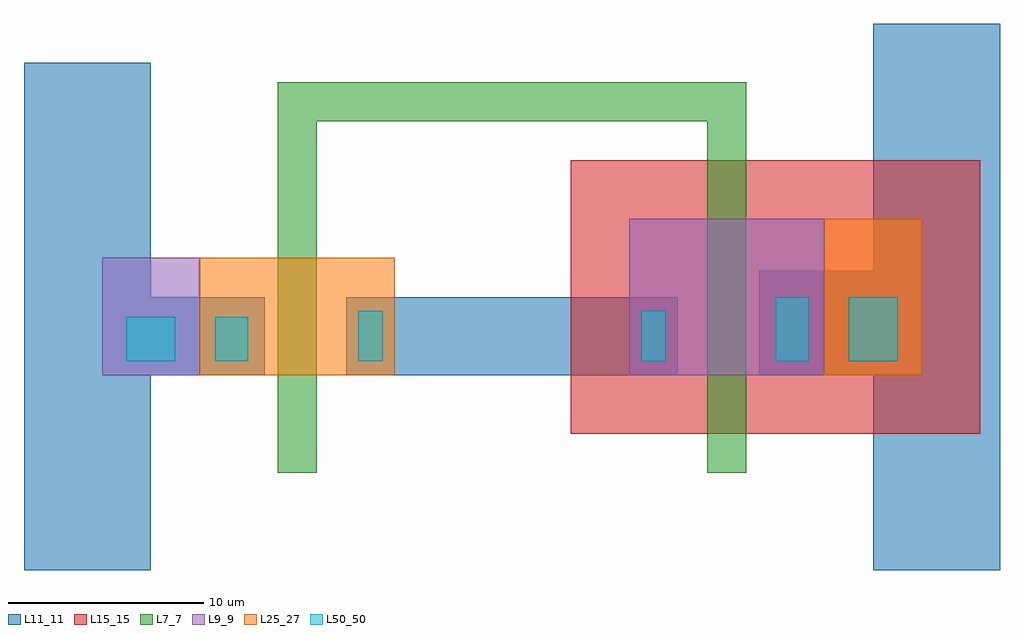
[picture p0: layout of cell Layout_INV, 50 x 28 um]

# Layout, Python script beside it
# -*- coding: utf-8 -*-
"""
Created on Thu Apr 29 16:20:48 2021

@author: muham
"""

def draw_inv(Wn, Wp, Lp, Ln, Wnd, Wpd):
    
    import gdspy
# The GDSII file is called a library, which contains multiple cells.
    lib = gdspy.GdsLibrary()

# Geometry must be placed in cells.
    cell = lib.new_cell("Layout_INV")
    
    #Geometry of N_well
    N_well = {"layer":15 , "datatype":15}
    p1 = gdspy.Rectangle((3, -9), (9+(1.5*Wpd),-3+Wp), **N_well)

################Geometry of diffusion p+################
    Diffusion_pplus = {"layer":9 , "datatype":9}
#Geometry of diffusion of pmos Tr
    p2 = gdspy.Rectangle((6, -6), (6+Wpd,-6+Wp), **Diffusion_pplus)
#################################
#Geometry of p+ diffusion for nmos Tr to contact p-substrate with GND (sustrate Tap) 
    p3 = gdspy.Rectangle((-6-(1.5*Wnd), -6+Wn), (-6-Wnd,-6), **Diffusion_pplus)
#######################################################################
################Geometry of diffusion n+################
    Diffusion_nplus = {"layer":25, "datatype":27}
#Geometry of diffusion of nmos Tr
    p4 = gdspy.Rectangle((-6, -6), (-6-Wnd,-6+Wn), **Diffusion_nplus)
#################################
#Geometry of n+ diffusion for pmos Tr to contact n-well with VDD   (N-well Tap)
    p5 = gdspy.Rectangle((6+Wpd, -6), (6+(1.5*Wpd),-6+Wp), **Diffusion_nplus) 
#####################################################################
#Geometry of Gate poly silicon
    Gate_poly={"layer":7 , "datatype":7}
    points_1 = [(6+(Wpd/2)+(Lp/2), -11), (6+(Wpd/2)+(Lp/2), Wp+1), (-6-(Wnd/2)-(Ln/2), Wp+1), (-6-(Wnd/2)-(Ln/2), -11), (-6-(Wnd/2)+(Ln/2), -11), (-6-(Wnd/2)+(Ln/2), Wp-1), (6+(Wpd/2)-(Lp/2), Wp-1), (6+(Wpd/2)-(Lp/2),-11)]
    p6 = gdspy.Polygon(points_1,**Gate_poly)
################Geometry of metal layers################
    Metal_layer= {"layer":  11, "datatype":11}
#Geometry of metal layer between drains of the Trs
    if Wp>=Wn:
        y=-6+(Wn*2/3)
        p7 = gdspy.Rectangle((6+(Wpd/4), -6), (-6-(Wnd/4),y), **Metal_layer)
    elif Wp<Wn:
        y= -6+(Wp*2/3)
        p7 = gdspy.Rectangle((6+(Wpd/4), -6), (-6-(Wnd/4),y), **Metal_layer)
########################################
#Geometry of VDD metal layer
    points_2 = [(6+(2*Wpd/3), -6), (6+(2*Wpd/3), -6+(Wp*2/3)), (6+1.25*Wpd, -6+(Wp*2/3)), (6+1.25*Wpd, 4+Wp), (10+1.5*Wpd, 4+Wp), (10+1.5*Wpd, -16), (6+1.25*Wpd, -16), (6+1.25*Wpd,-6)]
    p8 = gdspy.Polygon(points_2, **Metal_layer)
########################################
#Geometry of GND metal layer
    points_3 = [(-6-(2*Wnd/3), -6), (-6-(2*Wnd/3), -6+(Wn*2/3)), (-6-1.25*Wnd, -6+(Wn*2/3)), (-6-1.25*Wnd, 4+Wn), (-10-1.5*Wnd, 4+Wn), (-10-1.5*Wnd, -16), (-6-1.25*Wnd, -16), (-6-1.25*Wnd,-6)]
    p9 = gdspy.Polygon(points_3, **Metal_layer)
########################################
#Geometry of Contacts
    Contacts={"layer":50,"datatype":50}
 #Geometry of Vdd Contacts
    p10 = gdspy.Rectangle((6+Wpd*1.375, -5.3), (6+Wpd*1.125,-6+(Wp/2)), **Contacts)
    p11 = gdspy.Rectangle((6+(0.92*Wpd), -5.3), (6+(0.75*Wpd),-6+(Wp/2)), **Contacts)
 #Geometry of contacts bet 2 Tr   
    p12 = gdspy.Rectangle((6+(3*Wpd/16) , -5.3), (6+(Wpd/16),y-0.7), **Contacts)
    p13 = gdspy.Rectangle((-6-(Wnd/16), -5.3), (-6-(3*Wnd/16),y-0.7), **Contacts)
#Geometry of GND Contacts    
    p14 = gdspy.Rectangle((-6-Wnd*1.375, -5.3), (-6-Wnd*1.125,-6+(Wn/2)), **Contacts)
    p15 = gdspy.Rectangle((-6-(0.92*Wnd), -5.3), (-6-(0.75*Wnd),-6+(Wn/2)), **Contacts)
###################################################
    cell.add(p1)
    cell.add(p2)   
    cell.add(p3)
    cell.add(p4)
    cell.add(p5)
    cell.add(p6)
    cell.add(p7)
    cell.add(p8)
    cell.add(p9)
    cell.add(p10)
    cell.add(p11)
    cell.add(p12)
    cell.add(p13)
    cell.add(p14)
    cell.add(p15)

# Save the library in a file called 'FN_of_layout_INV.gds'.
    lib.write_gds('FN_of_layout_INV.gds')

# Optionally, save an image of the cell as SVG.
    cell.write_svg('FN_of_layout_INV.svg')
##############################################################################
draw_inv(6, 8, 2, 2, 10, 10)












